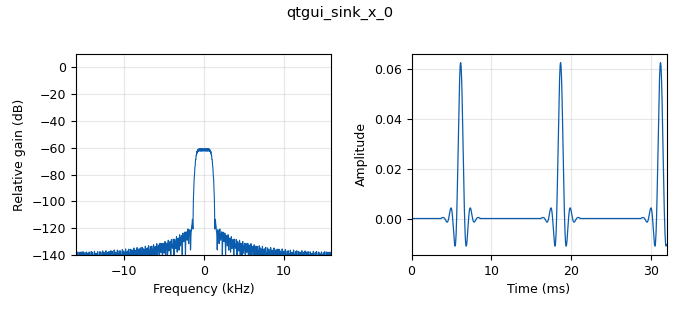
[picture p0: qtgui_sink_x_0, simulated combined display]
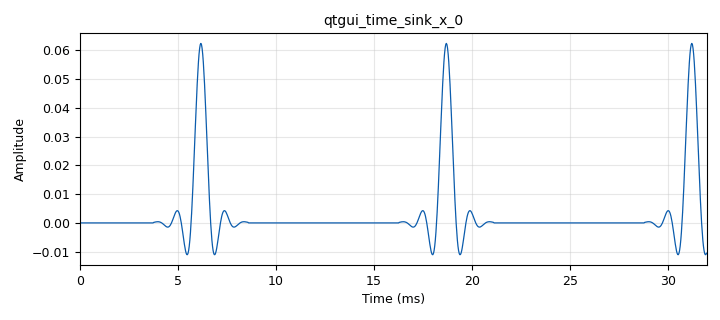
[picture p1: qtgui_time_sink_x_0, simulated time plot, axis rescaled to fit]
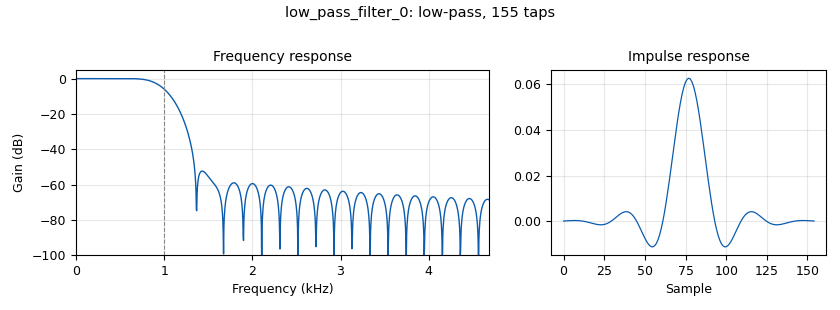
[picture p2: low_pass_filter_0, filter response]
<?xml version='1.0' encoding='utf-8'?>
<?grc format='1' created='3.7.11'?>
<flow_graph>
<block>
<key>options</key>
<param><key>id</key><value>top_block</value></param>
<param><key>generate_options</key><value>qt_gui</value></param>
</block>
<block>
<key>variable</key>
<param><key>id</key><value>samp_rate</value></param>
<param><key>value</key><value>32000</value></param>
</block>
<block>
<key>blocks_throttle</key>
<param><key>id</key><value>blocks_throttle_0</value></param>
<param><key>samples_per_second</key><value>samp_rate</value></param>
<param><key>type</key><value>float</value></param>
</block>
<block>
<key>blocks_vector_source_x</key>
<param><key>id</key><value>blocks_vector_source_x_0</value></param>
<param><key>type</key><value>float</value></param>
<param><key>repeat</key><value>True</value></param>
<param><key>vector</key><value>np.hstack((np.zeros(200), np.array([1]), np.zeros(200)))</value></param>
</block>
<block>
<key>low_pass_filter</key>
<param><key>id</key><value>low_pass_filter_0</value></param>
<param><key>cutoff_freq</key><value>1000</value></param>
<param><key>decim</key><value>2</value></param>
<param><key>type</key><value>interp_fir_filter_fff</value></param>
<param><key>gain</key><value>1</value></param>
<param><key>interp</key><value>1</value></param>
<param><key>samp_rate</key><value>samp_rate</value></param>
<param><key>width</key><value>500</value></param>
<param><key>win</key><value>firdes.WIN_HAMMING</value></param>
</block>
<block>
<key>import</key>
<param><key>id</key><value>np</value></param>
<param><key>import</key><value>import numpy as np</value></param>
</block>
<block>
<key>qtgui_sink_x</key>
<param><key>id</key><value>qtgui_sink_x_0</value></param>
<param><key>bw</key><value>samp_rate</value></param>
<param><key>fc</key><value>0</value></param>
<param><key>freqchangevar</key><value>None</value></param>
<param><key>fftsize</key><value>1024</value></param>
<param><key>showports</key><value>True</value></param>
<param><key>type</key><value>float</value></param>
<param><key>wintype</key><value>firdes.WIN_BLACKMAN_hARRIS</value></param>
</block>
<block>
<key>qtgui_time_sink_x</key>
<param><key>id</key><value>qtgui_time_sink_x_0</value></param>
<param><key>gui_hint</key><value>(2,0,1,1)</value></param>
<param><key>grid</key><value>True</value></param>
<param><key>color1</key><value>"blue"</value></param>
<param><key>label1</key><value></value></param>
<param><key>size</key><value>1024</value></param>
<param><key>srate</key><value>samp_rate</value></param>
<param><key>type</key><value>float</value></param>
</block>
<connection><source_block_id>blocks_throttle_0</source_block_id><sink_block_id>low_pass_filter_0</sink_block_id><source_key>0</source_key><sink_key>0</sink_key></connection>
<connection><source_block_id>blocks_vector_source_x_0</source_block_id><sink_block_id>blocks_throttle_0</sink_block_id><source_key>0</source_key><sink_key>0</sink_key></connection>
<connection><source_block_id>low_pass_filter_0</source_block_id><sink_block_id>qtgui_sink_x_0</sink_block_id><source_key>0</source_key><sink_key>0</sink_key></connection>
<connection><source_block_id>low_pass_filter_0</source_block_id><sink_block_id>qtgui_time_sink_x_0</sink_block_id><source_key>0</source_key><sink_key>0</sink_key></connection>
</flow_graph>
